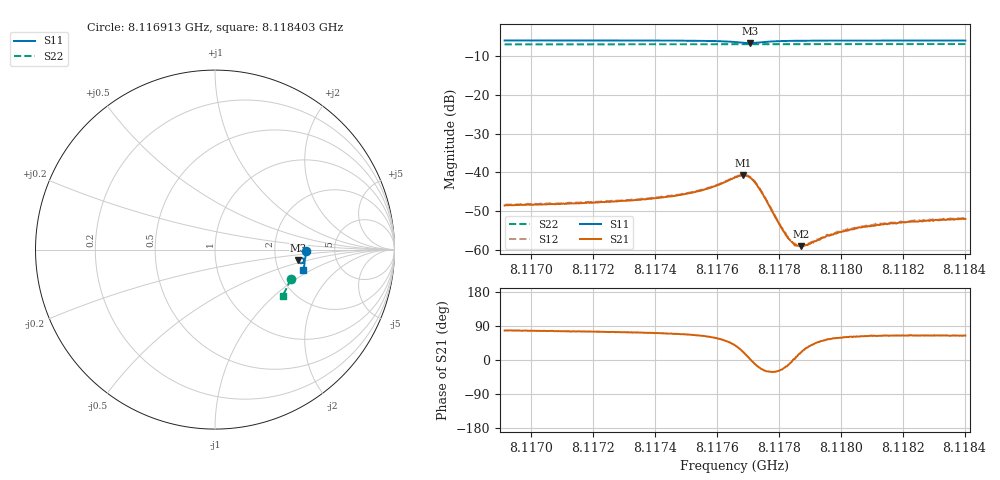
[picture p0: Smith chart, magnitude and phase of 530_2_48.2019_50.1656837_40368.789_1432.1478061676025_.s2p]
#  HZ  S  RI  R  50.00
! Rohde & Schwarz Vector Network Analyzer
! Rohde-Schwarz,ZNB20-2Port,1311601062101988,3.16
! Created: UTC 3/20/2024, 11:59:50 AM
! freq[Hz]  re:S11  im:S11  re:S21  im:S21  re:S12  im:S12  re:S22  im:S22
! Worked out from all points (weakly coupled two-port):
!   401 points, 8.116913 GHz to 8.118403 GHz, reference 50 ohm
!   highest |S21| = -40.74 dB at 8.117684 GHz (marker M1); lowest = -59.0 dB at 8.11787 GHz (marker M2)
!   lowest |S11| = -6.6 dB at 8.117706 GHz (marker M3), VSWR 2.76, Z = 135 - j20.1 ohm
!   |S11| at or under -10 dB: nowhere
!   |S22| runs from -6.9 to -6.8 dB; largest |S21 - S12| = 0.00023
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8.1169132e9  0.5067 -0.009  0.000796 0.00366  0.000859 0.00374  0.4207 -0.1627
8.1171627e9  0.5053 -0.0288  0.00102 0.0039  0.00109 0.00397  0.4148 -0.179
8.1174122e9  0.5025 -0.0502  0.00154 0.00446  0.00163 0.00455  0.4082 -0.1953
8.1174979e9  0.5001 -0.0587  0.00201 0.00488  0.00208 0.00492  0.4057 -0.2007
8.1175575e9  0.4969 -0.0656  0.00271 0.00534  0.00281 0.00542  0.4038 -0.2048
8.117658e9  0.4778 -0.0763  0.00674 0.00537  0.00688 0.00544  0.3999 -0.2111
8.1176841e9  0.4679 -0.0702  0.00854 0.00336  0.00871 0.00342  0.3989 -0.2122
8.1177064e9  0.4651 -0.0582  0.0086 0.000388  0.0088 0.000383  0.3983 -0.2131
8.1177213e9  0.4691 -0.0507  0.00743 -0.00128  0.00763 -0.00135  0.398 -0.2136
8.1177399e9  0.4773 -0.0465  0.00548 -0.00219  0.0056 -0.0023  0.398 -0.2147
8.1177958e9  0.4934 -0.0528  0.00204 -0.00115  0.00208 -0.0012  0.3968 -0.2183
8.1178256e9  0.4965 -0.0581  0.00145 -0.000436  0.00145 -0.000423  0.396 -0.2205
8.1178516e9  0.4978 -0.062  0.00114 5.5e-05  0.00121 7.57e-05  0.3952 -0.2221
8.1178703e9  0.4983 -0.0646  0.00106 0.000365  0.0011 0.000349  0.3947 -0.2234
8.1178852e9  0.4986 -0.0666  0.001 0.000574  0.00104 0.000561  0.3943 -0.2243
8.1179075e9  0.4988 -0.0692  0.000963 0.000817  0.000946 0.000837  0.3935 -0.2258
8.1179522e9  0.4988 -0.0744  0.000905 0.0012  0.000931 0.00122  0.3921 -0.2286
8.1179932e9  0.4985 -0.0784  0.000891 0.00145  0.000896 0.00144  0.3909 -0.2312
8.1180639e9  0.4978 -0.0849  0.000898 0.00173  0.000947 0.00177  0.3883 -0.2357
8.118157e9  0.4968 -0.0928  0.000964 0.00195  0.000991 0.00199  0.3852 -0.2414
8.1182464e9  0.4953 -0.1  0.00101 0.00211  0.00104 0.00218  0.3822 -0.2467
8.1184028e9  0.4928 -0.1121  0.00108 0.00227  0.00111 0.00231  0.3763 -0.2563
